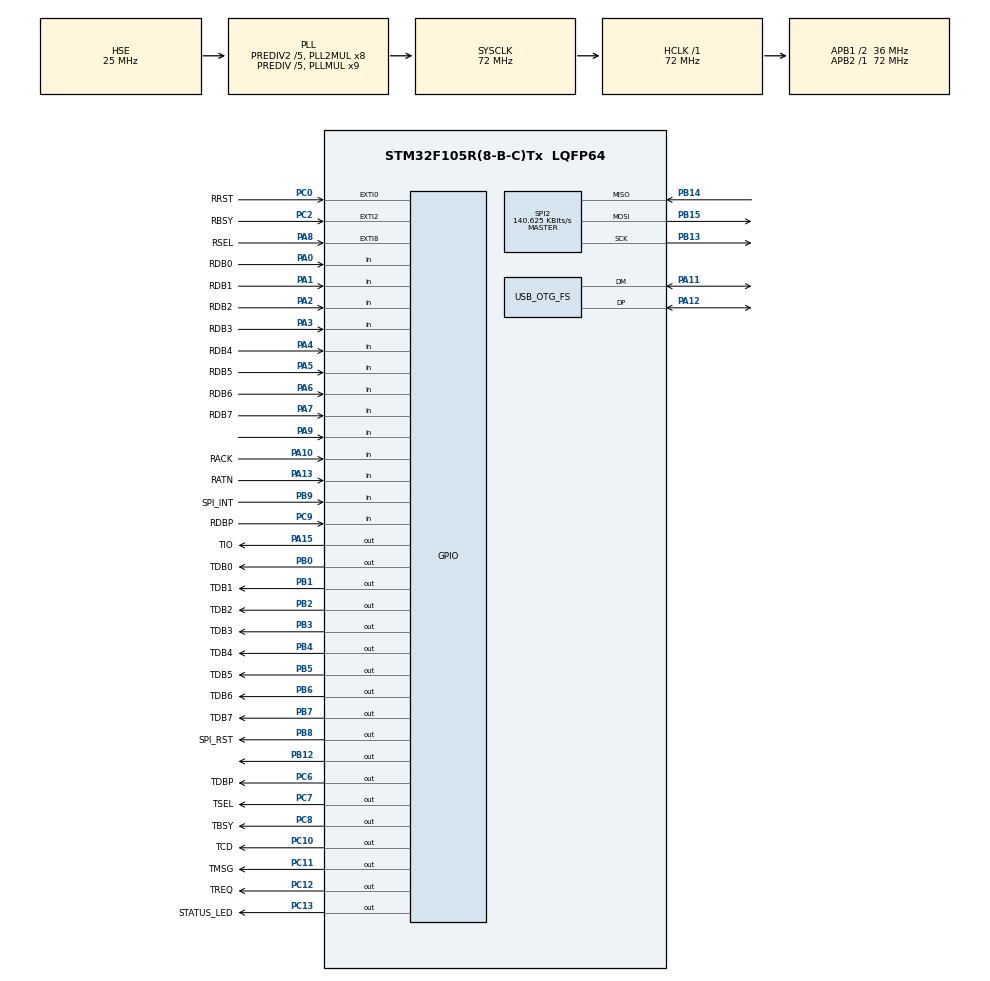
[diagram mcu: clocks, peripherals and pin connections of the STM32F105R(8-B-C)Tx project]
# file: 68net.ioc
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Mcu.Family=STM32F1
USB_DEVICE.CLASS_NAME_FS=CDC
SPI2.VirtualType=VM_MASTER
RCC.Prediv2=RCC_HSE_PREDIV2_DIV5
PC10.Signal=GPIO_Output
PC12.Signal=GPIO_Output
PC0.GPIO_Label=RRST
PC6.GPIO_Label=TDBP
PA11.Mode=Device_Only
PA6.GPIO_Label=RDB6
PB0.GPIO_Label=TDB0
PB6.GPIO_Label=TDB6
PB13.Signal=SPI2_SCK
PB15.Signal=SPI2_MOSI
RCC.SYSCLKSource=RCC_SYSCLKSOURCE_PLLCLK
ProjectManager.StackSize=0x400
PD1-OSC_OUT.Signal=RCC_OSC_OUT
PA15.GPIO_Label=TIO
PA12.Signal=USB_OTG_FS_DP
RCC.HCLKFreq_Value=72000000
RCC.APB2TimFreq_Value=72000000
PB6.Signal=GPIO_Output
PC7.Signal=GPIO_Output
RCC.AHBFreq_Value=72000000
SPI2.BaudRatePrescaler=SPI_BAUDRATEPRESCALER_256
RCC.HSE_VALUE=25000000
PB2.Signal=GPIO_Output
RCC.PLLMUL=RCC_PLL_MUL9
PB14.Mode=Full_Duplex_Master
PB1.GPIO_Label=TDB1
PC11.GPIO_Label=TMSG
PA10.GPIO_Label=RACK
SPI2.CalculateBaudRate=140.625 KBits/s
PB7.Signal=GPIO_Output
PA8.Signal=GPXTI8
TIM6.Period=20000
PC0.GPIO_ModeDefaultEXTI=GPIO_MODE_IT_RISING_FALLING
PB7.GPIO_Label=TDB7
RCC.Prediv1Source=RCC_PREDIV1_SOURCE_PLL2
Mcu.Package=LQFP64
PB9.Signal=GPIO_Input
PB1.Signal=GPIO_Output
PA6.Signal=GPIO_Input
SPI2.Mode=SPI_MODE_MASTER
PA8.GPIO_ModeDefaultEXTI=GPIO_MODE_IT_RISING_FALLING
NVIC.OTG_FS_IRQn=true\:0\:0\:false\:false\:true\:false\:true
PA2.GPIO_Label=RDB2
PA10.Signal=GPIO_Input
USB_OTG_FS.VirtualMode=Device_Only
PA15.Signal=GPIO_Output
PB5.GPIO_Label=TDB5
NVIC.EXTI2_IRQn=true\:0\:0\:false\:false\:true\:true\:true
RCC.APB1TimFreq_Value=72000000
SPI2.Direction=SPI_DIRECTION_2LINES
PB13.Mode=Full_Duplex_Master
PA4.GPIO_Label=RDB4
PC2.GPIO_Label=RBSY
PB4.Signal=GPIO_Output
PC2.GPIO_ModeDefaultEXTI=GPIO_MODE_IT_RISING_FALLING
PA3.Signal=GPIO_Input
PB3.GPIO_Label=TDB3
PD1-OSC_OUT.Mode=HSE-External-Oscillator
PB9.GPIO_Label=SPI_INT
PC10.GPIO_Label=TCD
PC9.GPIO_Label=RDBP
USB_DEVICE.VirtualModeFS=Cdc_FS
PC11.Signal=GPIO_Output
PC8.Signal=GPIO_Output
TIM6.Prescaler=72
PC2.Signal=GPXTI2
PC6.Signal=GPIO_Output
VP_TIM6_VS_ClockSourceINT.Mode=Enable_Timer
PC13-TAMPER-RTC.Signal=GPIO_Output
PD0-OSC_IN.Signal=RCC_OSC_IN
PC0.Signal=GPXTI0
RCC.APB1CLKDivider=RCC_HCLK_DIV2
VP_SYS_VS_ND.Mode=No_Debug
PA0-WKUP.GPIO_Label=RDB0
PA0-WKUP.Signal=GPIO_Input
NVIC.TIM6_IRQn=true\:0\:0\:false\:false\:true\:true\:true
PC8.GPIO_Label=TBSY
PA13.Signal=GPIO_Input
TIM6.AutoReloadPreload=TIM_AUTORELOAD_PRELOAD_ENABLE
PB8.GPIO_Label=SPI_RST
PA8.GPIO_Label=RSEL
ProjectManager.TargetToolchain=STM32CubeIDE
SPI2.CRCCalculation=SPI_CRCCALCULATION_DISABLE
VP_USB_DEVICE_VS_USB_DEVICE_CDC_FS.Mode=CDC_FS
PA9.Signal=GPIO_Input
RCC.USBFreq_Value=48000000
PA1.Signal=GPIO_Input
PD0-OSC_IN.Mode=HSE-External-Oscillator
PB14.Signal=SPI2_MISO
PA5.Signal=GPIO_Input
board=custom
PC13-TAMPER-RTC.GPIO_Label=STATUS_LED
PB15.Mode=Full_Duplex_Master
RCC.APB2Freq_Value=72000000
PB4.GPIO_Label=TDB4
PA1.GPIO_Label=RDB1
TIM6.TIM_MasterOutputTrigger=TIM_TRGO_ENABLE
Mcu.Name=STM32F105R(8-B-C)Tx
PA2.Signal=GPIO_Input
PA13.GPIO_Label=RATN
PC7.GPIO_Label=TSEL
PB3.Signal=GPIO_Output
PA4.Signal=GPIO_Input
RCC.SYSCLKFreq_VALUE=72000000
PB5.Signal=GPIO_Output
PA7.GPIO_Label=RDB7
PA12.Mode=Device_Only
PA5.GPIO_Label=RDB5
RCC.HSEDivPLL=RCC_HSE_PREDIV_DIV5
PC12.GPIO_Label=TREQ
PA11.Signal=USB_OTG_FS_DM
PB2.GPIO_Label=TDB2
ProjectManager.HeapSize=0x200
PA8.GPIO_PuPd=GPIO_NOPULL
NVIC.PriorityGroup=NVIC_PRIORITYGROUP_4
PB8.Signal=GPIO_Output
PC9.Signal=GPIO_Input
RCC.APB1Freq_Value=36000000
PB0.Signal=GPIO_Output
USB_DEVICE.VirtualMode=Cdc
PB12.Signal=GPIO_Output
PA3.GPIO_Label=RDB3
PA7.Signal=GPIO_Input

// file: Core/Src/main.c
/* USER CODE BEGIN Header */
/**
 ******************************************************************************
 * @file           : main.c
 * @brief          : Main program body
 ******************************************************************************
 * @attention
 *
 * <h2><center>&copy; Copyright (c) 2020 STMicroelectronics.
 * All rights reserved.</center></h2>
 *
 * This software component is licensed by ST under Ultimate Liberty license
 * SLA0044, the "License"; You may not use this file except in compliance with
 * the License. You may obtain a copy of the License at:
 *                             www.st.com/SLA0044
 *
 ******************************************************************************
 */
/* USER CODE END Header */
#include "main.h"
#include "usb_device.h"

/* USER CODE BEGIN Includes */
#include "helpers.h"
#include "scsi.h"
#include "scsi_protocol.h"
#include "enc.h"
#include "timing.h"
/* USER CODE END Includes */

SPI_HandleTypeDef hspi2;

TIM_HandleTypeDef htim6;

/* USER CODE BEGIN PV */
volatile uint8_t scsi_selected = 0;
volatile uint8_t scsi_re_selected = 0;
volatile uint8_t scsi_selected_address = 0;
volatile uint8_t log_please = 0;
volatile uint8_t rsel_log = 0;
volatile uint8_t rbsy_log = 0;
volatile uint8_t packet_received = 0;
volatile uint8_t packet_reception_allowed = 0;

volatile uint8_t ready_to_message_packets = 0;

uint8_t packet_id = 0;
/* USER CODE END PV */

void SystemClock_Config(void);
static void MX_GPIO_Init(void);
static void MX_SPI2_Init(void);
static void MX_TIM6_Init(void);

/* USER CODE BEGIN 0 */

void fill_buf_p(uint8_t *buf, uint16_t len, const char *s)
{
  // fill in tcp data at position pos
  //
  // with no options the data starts after the checksum + 2 more bytes (urgent ptr)
  while (len)
  {
    *buf = *s;
    buf++;
    s++;
    len--;
  }
}

const char arpreqhdr[] = {0, 1, 8, 0, 6, 4, 0, 1};
/* USER CODE END 0 */

int main(void)
{

  /* MCU Configuration--------------------------------------------------------*/

  /* Reset of all peripherals, Initializes the Flash interface and the Systick. */
  HAL_Init();

  /* Configure the system clock */
  SystemClock_Config();

  /* Initialize all configured peripherals */
  MX_GPIO_Init();
  MX_USB_DEVICE_Init();
  MX_SPI2_Init();
  MX_TIM6_Init();
  /* USER CODE BEGIN 2 */

  // Init SCSI transmit pins
  HAL_GPIO_WritePin(TDB0_GPIO_Port, TDB0_Pin, GPIO_PIN_RESET);
  HAL_GPIO_WritePin(TDB1_GPIO_Port, TDB1_Pin, GPIO_PIN_RESET);
  HAL_GPIO_WritePin(TDB2_GPIO_Port, TDB2_Pin, GPIO_PIN_RESET);
  HAL_GPIO_WritePin(TDB3_GPIO_Port, TDB3_Pin, GPIO_PIN_RESET);
  HAL_GPIO_WritePin(TDB4_GPIO_Port, TDB4_Pin, GPIO_PIN_RESET);
  HAL_GPIO_WritePin(TDB5_GPIO_Port, TDB5_Pin, GPIO_PIN_RESET);
  HAL_GPIO_WritePin(TDB6_GPIO_Port, TDB6_Pin, GPIO_PIN_RESET);
  HAL_GPIO_WritePin(TDB7_GPIO_Port, TDB7_Pin, GPIO_PIN_RESET);
  HAL_GPIO_WritePin(TDBP_GPIO_Port, TDBP_Pin, GPIO_PIN_RESET);

  HAL_GPIO_WritePin(TREQ_GPIO_Port, TREQ_Pin, GPIO_PIN_RESET);
  HAL_GPIO_WritePin(TMSG_GPIO_Port, TMSG_Pin, GPIO_PIN_RESET);
  HAL_GPIO_WritePin(TCD_GPIO_Port, TCD_Pin, GPIO_PIN_RESET);
  HAL_GPIO_WritePin(TIO_GPIO_Port, TIO_Pin, GPIO_PIN_RESET);
  HAL_GPIO_WritePin(TBSY_GPIO_Port, TBSY_Pin, GPIO_PIN_RESET);
  HAL_GPIO_WritePin(TSEL_GPIO_Port, TSEL_Pin, GPIO_PIN_RESET);

  HAL_GPIO_WritePin(STATUS_LED_GPIO_Port, STATUS_LED_Pin, GPIO_PIN_SET);

  LOG("self test\r\n");
  TBSY(GPIO_PIN_SET);
  HAL_Delay(1);
  if (RBSY())
  {
    LOG("BSY ok\r\n");
  }
  else
  {
    LOG("BSY NOK\r\n");
  }

  TBSY(GPIO_PIN_RESET);
  HAL_Delay(1);
  if (!RBSY())
  {
    LOG("BSY ok\r\n");
  }
  else
  {
    LOG("BSY NOK\r\n");
  }

  TSEL(GPIO_PIN_SET);
  HAL_Delay(1);
  if (RSEL())
  {
    LOG("SEL ok\r\n");
  }
  else
  {
    LOG("SEL NOK\r\n");
  }

  TSEL(GPIO_PIN_RESET);
  HAL_Delay(1);
  if (!RSEL())
  {
    LOG("SEL ok\r\n");
  }
  else
  {
    LOG("SEL NOK\r\n");
  }

  TDBP(GPIO_PIN_SET);
  HAL_Delay(1);
  if (RDBP())
  {
    LOG("DBP ok\r\n");
  }
  else
  {
    LOG("DBP NOK\r\n");
  }

  TDBP(GPIO_PIN_RESET);
  HAL_Delay(1);
  if (!RDBP())
  {
    LOG("DBP ok\r\n");
  }
  else
  {
    LOG("DBP NOK\r\n");
  }

  for (uint8_t i = 0; i < 8; i++)
  {
    uint8_t mask = 1 << i;

    TDB0_GPIO_Port->ODR &= 0xff00;
    TDB0_GPIO_Port->ODR |= mask;

    asm("nop");
    asm("nop");
    asm("nop");
    asm("nop");

    if ((~(RDB0_GPIO_Port->IDR) & 0xff) == mask)
    {
      LOG("bit %d ok\r\n", i);
    }
    else
    {
      LOG("bit %d NOK : %x\r\n", i, ~(RDB0_GPIO_Port->IDR) & 0xff);
    }
  }

  /* USER CODE END 2 */

  /* Infinite loop */
  /* USER CODE BEGIN WHILE */
  uint8_t requestId;
  char buffer[20];
  uint8_t status;
#pragma clang diagnostic push
#pragma ide diagnostic ignored "EndlessLoop"
  HAL_GPIO_WritePin(SPI_RST_GPIO_Port, SPI_RST_Pin, GPIO_PIN_SET);
  encInit();
  uint8_t arp[] = {0xFF, 0xFF, 0xFF, 0xFF, 0xFF, 0xFF, 0x00, 0xE0, 0x4C, 0x6D, 0x11, 0x08, 0x08, 0x06, 0x00, 0x01, 0x08,
                   0x00, 0x06, 0x04, 0x00, 0x01, 0x00, 0xE0, 0x4C, 0x6D, 0x11, 0x08, 0xC0, 0xA8, 0x11, 0x02, 0x00, 0x00,
                   0x00, 0x00, 0x00, 0x00, 0xC0, 0xA8, 0x11, 0x01};
  uint8_t buf[MAX_PACKET_SIZE];
   uint8_t tmp_buf[MAX_PACKET_SIZE];
  uint16_t buf_size = 0;
  GPIO_PinState ps = GPIO_PIN_RESET;

  stopwatch_reset();
  // 0x2a=42=len of packet
  // encSendPacket(buf, 0x2a);
  // LOG("sent\r\n");
  //  while (1) {
  ////    encSendPacket(arp, 60);

  // 0x2a=42=len of packet
  //  encSendPacket(buf, 42);
  //  }
  uint8_t cmmd_mcast_count = 0;
  while (1)
  {
    /* USER CODE END WHILE */

    /* USER CODE BEGIN 3 */
    // Wait for reset
    status = 0;
    // if (!packet_received)
    // {
    uint16_t size = encPacketReceive(MAX_PACKET_SIZE, tmp_buf);
    if (size != 0)
    {
      LOG("received packet of %hu bytes ", size);
      buf_size = size;
      if ((tmp_buf[0] == 0 && tmp_buf[1] == 0 && tmp_buf[2] == 0 && tmp_buf[3] == 0 && tmp_buf[4] == 0 && tmp_buf[5] == 0) ||
          (tmp_buf[0] == 0x02 && tmp_buf[1] == 0 && tmp_buf[2] == 0 && tmp_buf[3] == 0xbe && tmp_buf[4] == 0xee && tmp_buf[5] == 0xef) ||
          (tmp_buf[0] == 0x09 && tmp_buf[1] == 0 && tmp_buf[2] == 0x07 && tmp_buf[3] == 0xff && tmp_buf[4] == 0xff && tmp_buf[5] == 0xff )) // AppleShare broadcast
      {
        packet_received = 1;
        memcpy(buf, tmp_buf, size);
        LOG(" : accepted\r\n");
      }
      else
      {
        LOG(" : rejected\r\n");
      }
    }
    // }

    if (scsi_selected)
    {
      LOG("SELECTED:");

      while (RSEL())
        ;

      LOG(" ok\r\n");

      if (RATN())
      {
        LOG("ATN !!\r\n");
        // Message out
        uint8_t message;
        TCD(GPIO_PIN_SET); // Data out (initiator to target)
        TMSG(GPIO_PIN_SET);
        message = readHandshakeMessageOut();
        LOG("MESSAGE : 0x%02X\n", message & 0xff);

        TCD(GPIO_PIN_SET); // Data out (initiator to target)
        while (RATN())
          ;

        TMSG(GPIO_PIN_RESET);
        TBSY(GPIO_PIN_RESET);
      }

      TCD(GPIO_PIN_SET);

      uint8_t cmd[12];

      cmd[0] = readHandshake();
      cmd[1] = readHandshake();
      cmd[2] = readHandshake();
      cmd[3] = readHandshake();
      cmd[4] = readHandshake();
      cmd[5] = readHandshake();

      static const int cmd_class_len[8] = {6, 10, 10, 6, 6, 12, 6, 6};
      int len = cmd_class_len[cmd[0] >> 5u];

      for (int i = 6; i < len; i++)
      {
        cmd[i] = readHandshake();
      }

      sprintf(buffer, "CMD : 0x%02X\r\n", cmd[0]);
      LOG(buffer);

      switch (cmd[0])
      {
      case 0x12:
        LOG("[Inquiry]\r\n");
        status = onInquiryCommand(cmd);
        ready_to_message_packets = 1;
        break;
      case 0x09: // "Set Filter"
        LOG("[Set Filter]\r\n");
        // onSetFilter(cmd);

        // data out
        TMSG(GPIO_PIN_RESET);
        TIO(GPIO_PIN_RESET);
        TCD(GPIO_PIN_RESET);

        for (uint8_t z = 0; z <= 8; z++)
        {
          uint8_t dat = readHandshake();
          LOG("0x%x ", dat);
          if (z == 3 && dat == 0x80)
          {
            packet_reception_allowed = 1;
            LOG("Packet reception allowed\r\n");
          }
          if (z == 3 && dat == 0x00)
          {
            packet_reception_allowed = 0;
            LOG("Packet reception disabled\r\n");
          }
        }

        TCD(GPIO_PIN_SET);

        break;
      case 0x0C: // "Medium Sense"
        LOG("[Medium Sense]\r\n");
        break;
      case 0x05: // "Send Packet"
        LOG("[Send Packet]\r\n");
        onSendPacket(cmd);
        break;
      case 0x08:
        LOG("Read(6)\r\n");
        break;
      case 0x88:
        LOG("Read(16)\r\n");
        break;
      default:
        LOG("UNDEFINED CMD\r\n");
      }

      // Status
      TIO(GPIO_PIN_SET);
      TCD(GPIO_PIN_SET);
      // LOG("status (%x) ...", status);
      writeHandshake(status);
      // LOG(" ok\r\n");
      // if (RATN())
      //   LOG("ATN !!\r\n");

      // bug avant cette ligne
      // Message In
      TMSG(GPIO_PIN_SET);
      // LOG("message in (%x) ...", 0);
      writeHandshake(0);
      // LOG(" ok\r\n");
      // if (RATN())
      //   LOG("ATN !!\r\n");

      BUS_FREE();
      LOG("BUS FREE\r\n");
      scsi_selected = 0;
    }

    if (scsi_re_selected)
    {
      LOG("WON ARBITRATION AFTER RESELECTION for packet of size : %hu\r\n", buf_size);

      LOG("MESSAGE OUT : ");

      uint8_t msg = readHandshakeMessageOut();
      LOG("0x%x\r\n", msg);

      // 0x08 is no operation
      if (msg != 0x08)
      {
        LOG("MESSAGE IN\r\n");
        // message in

        TCD(GPIO_PIN_SET);
        TIO(GPIO_PIN_SET);
        TMSG(GPIO_PIN_SET);

        // disconnect
        writeHandshake(0x04);

        LOG("BUS FREE after %u\r\n", msg);

        TDB0_GPIO_Port->ODR &= 0xff00;
        TCD(GPIO_PIN_RESET);
        TIO(GPIO_PIN_RESET);
        TMSG(GPIO_PIN_RESET);
        TREQ(GPIO_PIN_RESET);
        TDBP(GPIO_PIN_RESET);
        TBSY(GPIO_PIN_RESET);

        scsi_re_selected = 0;
        HAL_GPIO_WritePin(STATUS_LED_GPIO_Port, STATUS_LED_Pin, GPIO_PIN_SET);

        continue;
      }

      LOG("DATA IN\r\n");

      // transmit packet
      // data in
      TCD(GPIO_PIN_RESET);
      TIO(GPIO_PIN_SET);
      TMSG(GPIO_PIN_RESET);

      // flag byte
      writeHandshake(0x1);
      LOG(".");

      // id byte
      writeHandshake(packet_id);
      LOG("%02X,", packet_id);
      packet_id++;

      // packet size
      writeHandshake(buf_size & 0xff);
       LOG("%02X,", buf_size & 0xff);
      writeHandshake((buf_size >> 8) & 0xff);
      LOG("%02X\r\n", (buf_size >> 8) & 0xff);

      // packet
      for (uint16_t i = 0; i < buf_size; i++)
      {
        writeHandshake(buf[i]);
        LOG("%02X ", buf[i]);
      }
      LOG("\r\n");

      if (RATN())
      {
        LOG("MESSAGE OUT : ");

        // message out
        TCD(GPIO_PIN_SET);
        TIO(GPIO_PIN_RESET);
        TMSG(GPIO_PIN_SET);

        msg = readHandshakeMessageOut();
        LOG("0x%x\r\n", msg);
        LOG("BUS FREE after %u\r\n", msg);

        TDB0_GPIO_Port->ODR &= 0xff00;
        TCD(GPIO_PIN_RESET);
        TIO(GPIO_PIN_RESET);
        TMSG(GPIO_PIN_RESET);
        TREQ(GPIO_PIN_RESET);
        TDBP(GPIO_PIN_RESET);
        TBSY(GPIO_PIN_RESET);

        scsi_re_selected = 0;
        HAL_GPIO_WritePin(STATUS_LED_GPIO_Port, STATUS_LED_Pin, GPIO_PIN_SET);
      }

      LOG("MESSAGE OUT : ");

      // message out
      TCD(GPIO_PIN_SET);
      TIO(GPIO_PIN_RESET);
      TMSG(GPIO_PIN_SET);

      DWT->CYCCNT = 0;

      while (1)
      {
        // wait 400ns for the bus to settle
        if (stopwatch_getticks() >= 29)
          break;
      }

      msg = readHandshakeMessageOut();
      LOG("0x%x\r\n", msg);

      // LOG("MESSAGE OUT : ");

      // // message out
      // TCD(GPIO_PIN_SET);
      // TIO(GPIO_PIN_RESET);
      // TMSG(GPIO_PIN_SET);

      // msg = readHandshake();
      // LOG("0x%x\r\n", msg);

      LOG("MESSAGE IN\r\n");
      // message in

      TCD(GPIO_PIN_SET);
      TIO(GPIO_PIN_SET);
      TMSG(GPIO_PIN_SET);

      // disconnect
      writeHandshake(0x04);

      LOG("BUS FREE\r\n");

      TDB0_GPIO_Port->ODR &= 0xff00;
      TCD(GPIO_PIN_RESET);
      TIO(GPIO_PIN_RESET);
      TMSG(GPIO_PIN_RESET);
      TREQ(GPIO_PIN_RESET);
      TDBP(GPIO_PIN_RESET);
      TBSY(GPIO_PIN_RESET);

      scsi_re_selected = 0;

      packet_received = 0;

      HAL_GPIO_WritePin(STATUS_LED_GPIO_Port, STATUS_LED_Pin, GPIO_PIN_SET);
    }
    // HAL_GPIO_WritePin(STATUS_LED_GPIO_Port, STATUS_LED_Pin, GPIO_PIN_SET);
    //    while (1);
    // while (RSEL() || RBSY() || !RRST()) {
    // //  int size = encPacketReceive(400, buf);
    //  int size = 0;
    //  if (size != 0) {
    //    LOG("received packet of %d bytes\n", size);
    //    for (int k = 0; k < size; k++)
    //      LOG("%02X ", buf[k]);

    //    LOG("\r\n");
    //  }
    // }

    //     requestId = RDB0_GPIO_Port->IDR;
    //     if ((~requestId & SCSI_ADDRESS) == SCSI_ADDRESS) {
    //       HAL_GPIO_WritePin(STATUS_LED_GPIO_Port, STATUS_LED_Pin, GPIO_PIN_RESET);
    //       TBSY(GPIO_PIN_SET);
    //       // Wait for SEL inactive
    //       LOG("SELECTED\r\n");
    //       while (!RSEL());

    //       if (!RATN()) {
    //         LOG("ATN !!\r\n");
    //         // Message out
    //         uint8_t message;
    //         TCD(GPIO_PIN_SET); // Data out (initiator to target)
    //         TMSG(GPIO_PIN_SET);
    //         message = readHandshake();
    //         LOG("MESSAGE : 0x%02X\n", message & 0xff);

    //         TCD(GPIO_PIN_SET); // Data out (initiator to target)
    //         while (!RATN());

    //         TMSG(GPIO_PIN_RESET);
    //         TBSY(GPIO_PIN_RESET);
    //       }

    //       TCD(GPIO_PIN_SET);

    //       uint8_t cmd[12];

    //       cmd[0] = readHandshake();
    //       cmd[1] = readHandshake();
    //       cmd[2] = readHandshake();
    //       cmd[3] = readHandshake();
    //       cmd[4] = readHandshake();
    //       cmd[5] = readHandshake();

    //       static const int cmd_class_len[8] = {6, 10, 10, 6, 6, 12, 6, 6};
    //       int len = cmd_class_len[cmd[0] >> 5u];

    //       for (int i = 6; i < len; i++) {
    //         cmd[i] = readHandshake();
    //       }

    //       sprintf(buffer, "CMD : 0x%02X\r\n", cmd[0]);
    //       LOG(buffer);

    // // Bug après cette ligne
    // // sur de sur
    //       switch (cmd[0]) {
    //         case 0x12:
    //           LOG("[Inquiry]\r\n");
    //           status = onInquiryCommand(cmd);
    //           break;
    //         case 0x09: // "Set Filter"
    //           LOG("[Set Filter]\r\n");
    //           onSetFilter(cmd);
    //           break;
    //         case 0x0C: // "Medium Sense"
    //           LOG("[Medium Sense]\r\n");
    //           break;
    //         case 0x05: // "Send Packet"
    //           LOG("[Send Packet]\r\n");
    //           onSendPacket(cmd);
    //           break;
    //         default:
    //           LOG("UNDEFINED CMD\r\n");
    //       }
    // //      while (1);
    // //      HAL_Delay(500);
    //       // Status
    //       TIO(GPIO_PIN_SET);
    //       TCD(GPIO_PIN_SET);
    //       LOG("status (%x) ...", status);
    //       writeHandshake(status);
    //       LOG(" ok\r\n");
    //       if (!RATN())
    //         LOG("ATN !!\r\n");

    //       // bug avant cette ligne
    //       // Message In
    //       TMSG(GPIO_PIN_SET);
    //       LOG("message in (%x) ...", 0);
    //       writeHandshake(0);
    //       LOG(" ok\r\n");
    //       if (!RATN())
    //         LOG("ATN !!\r\n");

    //       TCD(GPIO_PIN_RESET);
    //       TIO(GPIO_PIN_RESET);
    //       TMSG(GPIO_PIN_RESET);
    //       TBSY(GPIO_PIN_RESET);

    //       LOG("BUS FREE\r\n");
    // }
  }
#pragma clang diagnostic pop
  /* USER CODE END 3 */
}

void SystemClock_Config(void)
{
  RCC_OscInitTypeDef RCC_OscInitStruct = {0};
  RCC_ClkInitTypeDef RCC_ClkInitStruct = {0};
  RCC_PeriphCLKInitTypeDef PeriphClkInit = {0};

  /** Initializes the RCC Oscillators according to the specified parameters
   * in the RCC_OscInitTypeDef structure.
   */
  RCC_OscInitStruct.OscillatorType = RCC_OSCILLATORTYPE_HSE;
  RCC_OscInitStruct.HSEState = RCC_HSE_ON;
  RCC_OscInitStruct.HSEPredivValue = RCC_HSE_PREDIV_DIV5;
  RCC_OscInitStruct.HSIState = RCC_HSI_ON;
  RCC_OscInitStruct.Prediv1Source = RCC_PREDIV1_SOURCE_PLL2;
  RCC_OscInitStruct.PLL.PLLState = RCC_PLL_ON;
  RCC_OscInitStruct.PLL.PLLSource = RCC_PLLSOURCE_HSE;
  RCC_OscInitStruct.PLL.PLLMUL = RCC_PLL_MUL9;
  RCC_OscInitStruct.PLL2.PLL2State = RCC_PLL2_ON;
  RCC_OscInitStruct.PLL2.PLL2MUL = RCC_PLL2_MUL8;
  RCC_OscInitStruct.PLL2.HSEPrediv2Value = RCC_HSE_PREDIV2_DIV5;
  if (HAL_RCC_OscConfig(&RCC_OscInitStruct) != HAL_OK)
  {
    Error_Handler();
  }
  /** Initializes the CPU, AHB and APB buses clocks
   */
  RCC_ClkInitStruct.ClockType = RCC_CLOCKTYPE_HCLK | RCC_CLOCKTYPE_SYSCLK | RCC_CLOCKTYPE_PCLK1 | RCC_CLOCKTYPE_PCLK2;
  RCC_ClkInitStruct.SYSCLKSource = RCC_SYSCLKSOURCE_PLLCLK;
  RCC_ClkInitStruct.AHBCLKDivider = RCC_SYSCLK_DIV1;
  RCC_ClkInitStruct.APB1CLKDivider = RCC_HCLK_DIV2;
  RCC_ClkInitStruct.APB2CLKDivider = RCC_HCLK_DIV1;

  if (HAL_RCC_ClockConfig(&RCC_ClkInitStruct, FLASH_LATENCY_2) != HAL_OK)
  {
    Error_Handler();
  }
  PeriphClkInit.PeriphClockSelection = RCC_PERIPHCLK_USB;
  PeriphClkInit.UsbClockSelection = RCC_USBCLKSOURCE_PLL_DIV3;
  if (HAL_RCCEx_PeriphCLKConfig(&PeriphClkInit) != HAL_OK)
  {
    Error_Handler();
  }
  /** Configure the Systick interrupt time
   */
  __HAL_RCC_PLLI2S_ENABLE();
}

static void MX_SPI2_Init(void)
{

  /* SPI2 parameter configuration*/
  hspi2.Instance = SPI2;
  hspi2.Init.Mode = SPI_MODE_MASTER;
  hspi2.Init.Direction = SPI_DIRECTION_2LINES;
  hspi2.Init.DataSize = SPI_DATASIZE_8BIT;
  hspi2.Init.CLKPolarity = SPI_POLARITY_LOW;
  hspi2.Init.CLKPhase = SPI_PHASE_1EDGE;
  hspi2.Init.NSS = SPI_NSS_SOFT;
  hspi2.Init.BaudRatePrescaler = SPI_BAUDRATEPRESCALER_256;
  hspi2.Init.FirstBit = SPI_FIRSTBIT_MSB;
  hspi2.Init.TIMode = SPI_TIMODE_DISABLE;
  hspi2.Init.CRCCalculation = SPI_CRCCALCULATION_DISABLE;
  hspi2.Init.CRCPolynomial = 10;
  if (HAL_SPI_Init(&hspi2) != HAL_OK)
  {
    Error_Handler();
  }
}

static void MX_TIM6_Init(void)
{

  TIM_MasterConfigTypeDef sMasterConfig = {0};

  htim6.Instance = TIM6;
  htim6.Init.Prescaler = 72;
  htim6.Init.CounterMode = TIM_COUNTERMODE_UP;
  htim6.Init.Period = 20000;
  htim6.Init.AutoReloadPreload = TIM_AUTORELOAD_PRELOAD_ENABLE;
  if (HAL_TIM_Base_Init(&htim6) != HAL_OK)
  {
    Error_Handler();
  }
  sMasterConfig.MasterOutputTrigger = TIM_TRGO_ENABLE;
  sMasterConfig.MasterSlaveMode = TIM_MASTERSLAVEMODE_DISABLE;
  if (HAL_TIMEx_MasterConfigSynchronization(&htim6, &sMasterConfig) != HAL_OK)
  {
    Error_Handler();
  }
}

static void MX_GPIO_Init(void)
{
  GPIO_InitTypeDef GPIO_InitStruct = {0};

  /* GPIO Ports Clock Enable */
  __HAL_RCC_GPIOC_CLK_ENABLE();
  __HAL_RCC_GPIOD_CLK_ENABLE();
  __HAL_RCC_GPIOA_CLK_ENABLE();
  __HAL_RCC_GPIOB_CLK_ENABLE();

  /*Configure GPIO pin Output Level */
  HAL_GPIO_WritePin(GPIOC, STATUS_LED_Pin | TDBP_Pin | TSEL_Pin | TBSY_Pin | TCD_Pin | TMSG_Pin | TREQ_Pin, GPIO_PIN_RESET);

  /*Configure GPIO pin Output Level */
  HAL_GPIO_WritePin(GPIOB, TDB0_Pin | TDB1_Pin | TDB2_Pin | GPIO_PIN_12 | TDB3_Pin | TDB4_Pin | TDB5_Pin | TDB6_Pin | TDB7_Pin | SPI_RST_Pin, GPIO_PIN_RESET);

  /*Configure GPIO pin Output Level */
  HAL_GPIO_WritePin(TIO_GPIO_Port, TIO_Pin, GPIO_PIN_RESET);

  /*Configure GPIO pins : STATUS_LED_Pin TDBP_Pin TSEL_Pin TBSY_Pin
                           TCD_Pin TMSG_Pin TREQ_Pin */
  GPIO_InitStruct.Pin = STATUS_LED_Pin | TDBP_Pin | TSEL_Pin | TBSY_Pin | TCD_Pin | TMSG_Pin | TREQ_Pin;
  GPIO_InitStruct.Mode = GPIO_MODE_OUTPUT_PP;
  GPIO_InitStruct.Pull = GPIO_NOPULL;
  GPIO_InitStruct.Speed = GPIO_SPEED_FREQ_LOW;
  HAL_GPIO_Init(GPIOC, &GPIO_InitStruct);

  /*Configure GPIO pins : RRST_Pin RBSY_Pin */
  GPIO_InitStruct.Pin = RRST_Pin | RBSY_Pin;
  GPIO_InitStruct.Mode = GPIO_MODE_IT_RISING_FALLING;
  GPIO_InitStruct.Pull = GPIO_NOPULL;
  HAL_GPIO_Init(GPIOC, &GPIO_InitStruct);

  /*Configure GPIO pins : RDB0_Pin RDB1_Pin RDB2_Pin RDB3_Pin
                           RDB4_Pin RDB5_Pin RDB6_Pin RDB7_Pin
                           PA9 RACK_Pin RATN_Pin */
  GPIO_InitStruct.Pin = RDB0_Pin | RDB1_Pin | RDB2_Pin | RDB3_Pin | RDB4_Pin | RDB5_Pin | RDB6_Pin | RDB7_Pin | GPIO_PIN_9 | RACK_Pin | RATN_Pin;
  GPIO_InitStruct.Mode = GPIO_MODE_INPUT;
  GPIO_InitStruct.Pull = GPIO_NOPULL;
  HAL_GPIO_Init(GPIOA, &GPIO_InitStruct);

  /*Configure GPIO pins : TDB0_Pin TDB1_Pin TDB2_Pin PB12
                           TDB3_Pin TDB4_Pin TDB5_Pin TDB6_Pin
                           TDB7_Pin SPI_RST_Pin */
  GPIO_InitStruct.Pin = TDB0_Pin | TDB1_Pin | TDB2_Pin | GPIO_PIN_12 | TDB3_Pin | TDB4_Pin | TDB5_Pin | TDB6_Pin | TDB7_Pin | SPI_RST_Pin;
  GPIO_InitStruct.Mode = GPIO_MODE_OUTPUT_PP;
  GPIO_InitStruct.Pull = GPIO_NOPULL;
  GPIO_InitStruct.Speed = GPIO_SPEED_FREQ_LOW;
  HAL_GPIO_Init(GPIOB, &GPIO_InitStruct);

  /*Configure GPIO pin : RDBP_Pin */
  GPIO_InitStruct.Pin = RDBP_Pin;
  GPIO_InitStruct.Mode = GPIO_MODE_INPUT;
  GPIO_InitStruct.Pull = GPIO_NOPULL;
  HAL_GPIO_Init(RDBP_GPIO_Port, &GPIO_InitStruct);

  /*Configure GPIO pin : RSEL_Pin */
  GPIO_InitStruct.Pin = RSEL_Pin;
  GPIO_InitStruct.Mode = GPIO_MODE_IT_RISING_FALLING;
  GPIO_InitStruct.Pull = GPIO_NOPULL;
  HAL_GPIO_Init(RSEL_GPIO_Port, &GPIO_InitStruct);

  /*Configure GPIO pin : TIO_Pin */
  GPIO_InitStruct.Pin = TIO_Pin;
  GPIO_InitStruct.Mode = GPIO_MODE_OUTPUT_PP;
  GPIO_InitStruct.Pull = GPIO_NOPULL;
  GPIO_InitStruct.Speed = GPIO_SPEED_FREQ_LOW;
  HAL_GPIO_Init(TIO_GPIO_Port, &GPIO_InitStruct);

  /*Configure GPIO pin : SPI_INT_Pin */
  GPIO_InitStruct.Pin = SPI_INT_Pin;
  GPIO_InitStruct.Mode = GPIO_MODE_INPUT;
  GPIO_InitStruct.Pull = GPIO_NOPULL;
  HAL_GPIO_Init(SPI_INT_GPIO_Port, &GPIO_InitStruct);

  /* EXTI interrupt init*/
  HAL_NVIC_SetPriority(EXTI2_IRQn, 0, 0);
  HAL_NVIC_EnableIRQ(EXTI2_IRQn);
}

void Error_Handler(void)
{
}

/************************ (C) COPYRIGHT STMicroelectronics *****END OF FILE****/
